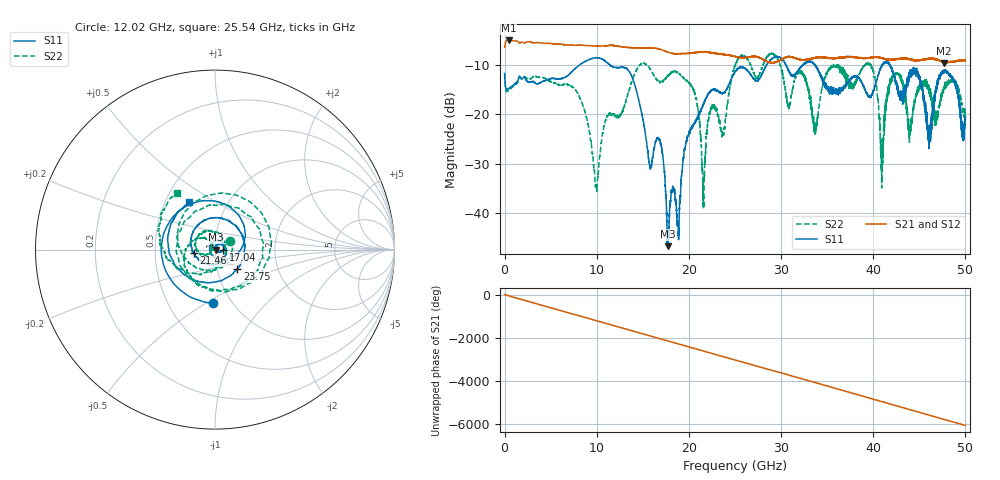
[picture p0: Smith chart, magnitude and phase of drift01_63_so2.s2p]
!Created with skrf (http://scikit-rf.org).
# Hz S RI R 50.0
!freq ReS11 ImS11 ReS21 ImS21 ReS12 ImS12 ReS22 ImS22
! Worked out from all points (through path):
!   10001 points, 300 kHz to 50 GHz, reference 50 ohm
!   highest |S21| = -5.05 dB at 425.3 MHz (marker M1); lowest = -9.6 dB at 47.67 GHz (marker M2)
!   group delay of S21, straight-line fit = 336 ps
!   lowest |S11| = -46.7 dB at 17.7 GHz (marker M3), VSWR 1.01, Z = 50.5 - j0.095 ohm
!   |S11| at or under -10 dB: start of sweep to 8.153 GHz; 11.42 GHz to 28.42 GHz (17 GHz wide, 85.3 % of centre); 41.82 GHz to end of sweep (the widest 3 of 12)
!   |S22| runs from -39.1 to -7.6 dB; largest |S21 - S12| = 0.014
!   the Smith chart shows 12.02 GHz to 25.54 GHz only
!   S11 on the Smith chart (normalised r, x): 12.02 GHz: 0.82, -0.54; 17.04 GHz: 1.10, -0.00; 21.46 GHz: 0.79, -0.03; 23.75 GHz: 1.25, -0.27; 25.54 GHz: 0.66, +0.38
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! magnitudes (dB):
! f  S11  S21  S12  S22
! 300 kHz  -11.7  -6.4  -6.4  -11.7
! 425.3 MHz  -14.8  -5.1  -5.1  -15.1
! 8.335 GHz  -9.7  -6.0  -6.0  -17.4
! 9.945 GHz  -8.6  -6.2  -6.2  -34.7
! 12.02 GHz  -10.5  -6.1  -6.1  -20.5
! 16.67 GHz  -24.7  -6.7  -6.7  -13.4
! 17.04 GHz  -26.6  -6.9  -6.9  -13.5
! 17.7 GHz  -46.7  -7.4  -7.4  -12.3
! 20.47 GHz  -22.3  -7.6  -7.5  -15.0
! 21.46 GHz  -18.6  -7.4  -7.4  -31.6
! 22.47 GHz  -15.1  -7.6  -7.6  -18.9
! 23.75 GHz  -15.7  -7.9  -7.8  -24.4
! 25 GHz  -11.4  -8.3  -8.3  -10.2
! 25.54 GHz  -10.5  -8.5  -8.5  -8.4
! 33.34 GHz  -9.4  -8.7  -8.7  -19.3
! 39.5 GHz  -16.3  -8.6  -8.6  -9.8
! 40.97 GHz  -10.1  -8.6  -8.6  -29.1
! 41.67 GHz  -9.6  -8.8  -8.9  -14.2
! 44.78 GHz  -12.1  -9.2  -9.1  -15.1
! 46.11 GHz  -23.8  -8.8  -8.8  -15.4
! 47.67 GHz  -11.1  -9.6  -9.5  -14.7
! 50 GHz  -21.1  -9.1  -9.1  -20.0
